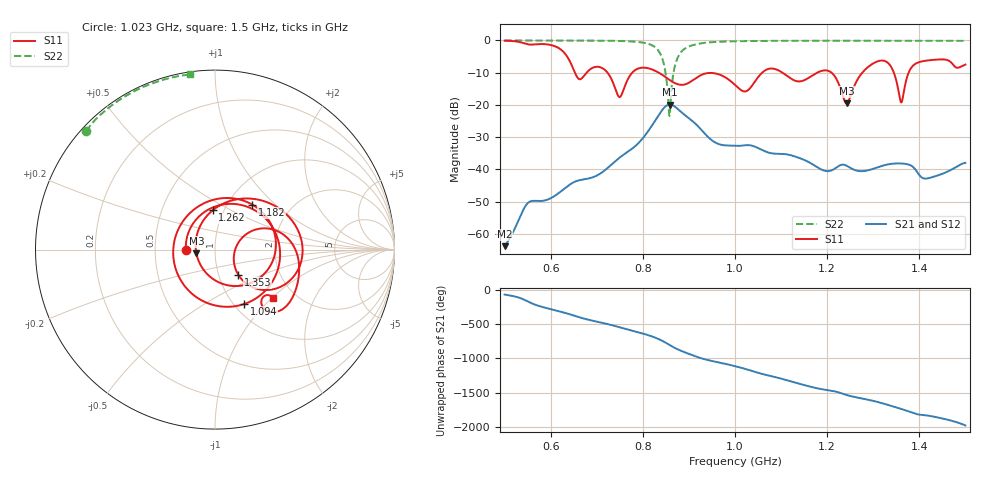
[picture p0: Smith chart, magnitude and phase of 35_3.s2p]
! TOUCHSTONE file generated by CST MICROWAVE STUDIO
! Date and time: Fri Dec 11 14:16:58 2020
! Project name: Scenario_1_Planar_Body_Tissue_Out_of_Line_v2.cst
! Parameters = {dy1=242.2; L_HA=400; Ltissue=700; MT=2.54; Rad_Dielectric=30; Rad_Lower=7.3; Rad_Upper=30; Wtissue=700; a_HA=580; a_WG=246; b_HA=500; b_WG=121; c_HA=0; c_WG=187; d_feed=85; dx1=520; h_feed=15; h_lower=18; h_upper=40; hfat=3; hgap=25; hmuscle=50; hskin=1.5}
! Header version: 2018
! Port assignment regex: !\s*Touchstone port\s*([0-9]+)\s*=\s*(CST MWS port|CST DS port)\s*([0-9]+|Zmin|Zmax)\s*\(\"(.*)\"\)(\s*mode\s*([0-9]+))?.*
! Touchstone port assignment:
! Touchstone port 1 = CST MWS port 1 ("")
! Touchstone port 2 = CST MWS port 2 ("")
# GHz S DB R 50
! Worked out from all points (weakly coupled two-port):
!   1003 points, 500 MHz to 1.5 GHz, reference 50 ohm
!   highest |S21| = -19.87 dB at 859 MHz (marker M1); lowest = -63.8 dB at 500 MHz (marker M2)
!   lowest |S11| = -19.5 dB at 1.242 GHz (marker M3), VSWR 1.24, Z = 40.6 - j1.75 ohm
!   |S11| at or under -10 dB: 834.5 MHz to 1.059 GHz (224.5 MHz wide, 23.7 % of centre); 1.103 GHz to 1.178 GHz (75.39 MHz wide, 6.61 % of centre); 1.21 GHz to 1.276 GHz (66.72 MHz wide, 5.37 % of centre)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
!   |S22| runs from -23.5 to 0.0 dB; largest |S21 - S12| = 3.7e-06
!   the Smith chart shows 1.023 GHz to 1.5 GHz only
!   S11 on the Smith chart (normalised r, x): 1.023 GHz: 0.72, -0.01; 1.094 GHz: 1.11, -0.77; 1.182 GHz: 1.30, +0.73; 1.262 GHz: 0.89, +0.41; 1.353 GHz: 1.24, -0.36; 1.5 GHz: 1.54, -1.02
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0.5  -0.09 -122.0  -63.79 -70.7  -63.79 -70.7  -0.01 151.2
0.598  -1.35 -174.9  -49.06 81.0  -49.06 81.0  -0.02 144.3
0.633  -4.44 146.9  -45.56 19.5  -45.56 19.5  -0.03 141.5
0.667  -11.80 161.4  -43.20 -51.2  -43.20 -51.2  -0.04 138.4
0.743  -16.06 19.4  -37.09 -175.3  -37.09 -175.3  -0.14 128.8
0.789  -8.76 162.4  -32.05 100.5  -32.05 100.5  -0.46 117.4
0.834  -9.96 56.6  -23.22 1.6  -23.22 1.6  -3.24 83.6
0.859  -12.35 -9.6  -19.87 -89.4  -19.87 -89.4  -21.63 -88.3
0.888  -13.73 -105.2  -22.77 175.9  -22.77 175.9  -2.88 177.4
0.935  -10.28 84.6  -29.00 65.3  -29.00 65.3  -0.74 153.0
1  -13.79 -93.5  -32.65 -34.1  -32.66 -34.1  -0.26 140.2
1.023  -15.80 -178.4  -32.48 -75.2  -32.48 -75.2  -0.21 137.3
1.054  -10.73 58.1  -33.64 -138.5  -33.64 -138.5  -0.16 134.1
1.094  -9.26 -61.6  -35.14 155.7  -35.14 155.7  -0.12 130.2
1.13  -12.47 -164.6  -35.98 88.0  -35.98 88.0  -0.11 127.2
1.167  -10.94 86.7  -38.29 21.1  -38.29 21.1  -0.10 124.2
1.182  -9.75 50.2  -39.60 -1.4  -39.60 -1.4  -0.09 123.0
1.242  -19.52 -168.3  -38.84 -93.5  -38.84 -93.5  -0.09 118.5
1.262  -13.17 93.4  -40.28 -126.2  -40.28 -126.2  -0.08 117.0
1.334  -7.25 -26.7  -38.38 118.1  -38.38 118.1  -0.09 111.5
1.353  -14.31 -47.3  -38.13 79.1  -38.13 79.1  -0.09 110.1
1.5  -7.49 -40.1  -37.95 -177.4  -37.95 -177.4  -0.13 98.0
